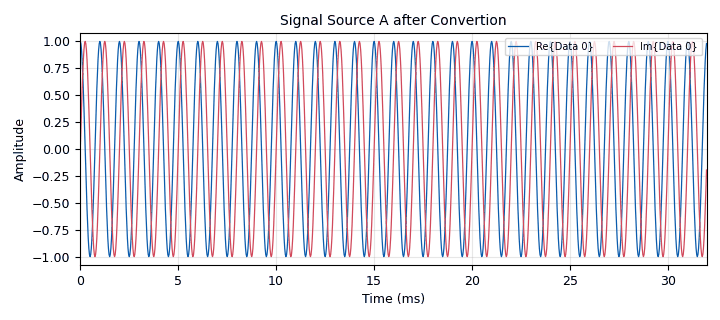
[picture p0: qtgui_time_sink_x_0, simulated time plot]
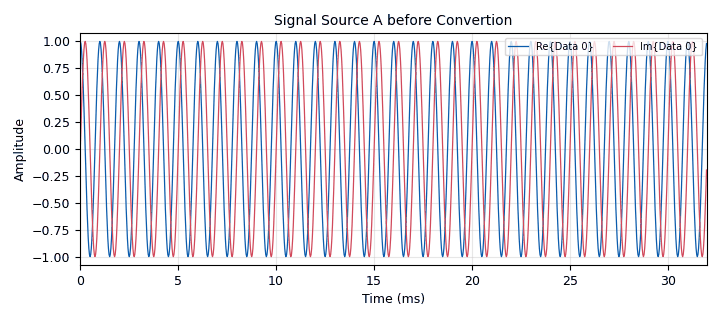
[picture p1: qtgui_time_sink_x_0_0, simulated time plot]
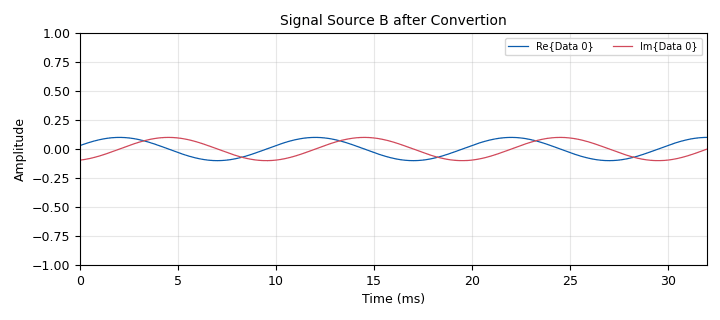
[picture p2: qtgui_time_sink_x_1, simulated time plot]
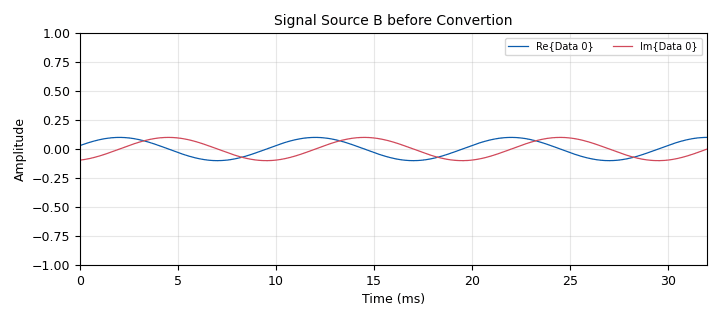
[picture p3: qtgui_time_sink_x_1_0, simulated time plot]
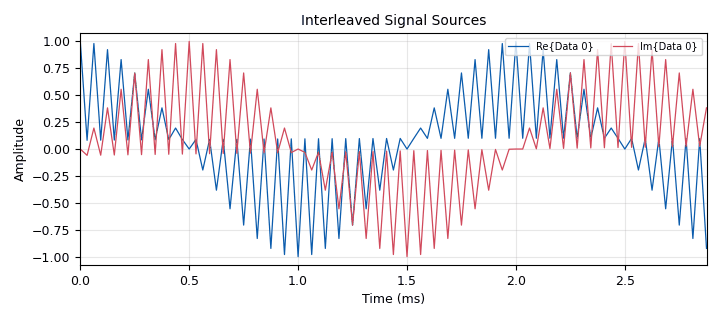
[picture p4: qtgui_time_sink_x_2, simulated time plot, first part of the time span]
options:
  parameters:
    generate_options: qt_gui
    id: streams_vectors
    output_language: python
    title: stream and vectors
  states: {}

blocks:
- name: samp_rate
  id: variable
  parameters:
    value: '32000'
  states: {}
- name: analog_sig_source_x_0
  id: analog_sig_source_x
  parameters:
    amp: '1'
    freq: '1000'
    offset: '0'
    phase: '0'
    samp_rate: samp_rate
    type: complex
    waveform: analog.GR_COS_WAVE
  states: {}
- name: analog_sig_source_x_1
  id: analog_sig_source_x
  parameters:
    amp: '0.1'
    freq: '100'
    offset: '0'
    phase: '0'
    samp_rate: samp_rate
    type: complex
    waveform: analog.GR_COS_WAVE
  states: {}
- name: blocks_streams_to_vector_0
  id: blocks_streams_to_vector
  parameters:
    type: complex
  states: {}
- name: blocks_vector_to_stream_0
  id: blocks_vector_to_stream
  parameters:
    type: complex
  states: {}
- name: blocks_vector_to_streams_0
  id: blocks_vector_to_streams
  parameters:
    type: complex
  states: {}
- name: qtgui_time_sink_x_0
  id: qtgui_time_sink_x
  parameters:
    name: '"Signal Source A after Convertion"'
    size: '1024'
    srate: samp_rate
    type: complex
  states: {}
- name: qtgui_time_sink_x_0_0
  id: qtgui_time_sink_x
  parameters:
    name: '"Signal Source A before Convertion"'
    size: '1024'
    srate: samp_rate
    type: complex
  states: {}
- name: qtgui_time_sink_x_1
  id: qtgui_time_sink_x
  parameters:
    name: '"Signal Source B after Convertion"'
    size: '1024'
    srate: samp_rate
    type: complex
  states: {}
- name: qtgui_time_sink_x_1_0
  id: qtgui_time_sink_x
  parameters:
    name: '"Signal Source B before Convertion"'
    size: '1024'
    srate: samp_rate
    type: complex
  states: {}
- name: qtgui_time_sink_x_2
  id: qtgui_time_sink_x
  parameters:
    name: '"Interleaved Signal Sources"'
    size: '1024'
    srate: samp_rate
    type: complex
  states: {}

connections:
- [analog_sig_source_x_0, '0', blocks_streams_to_vector_0, '0']
- [analog_sig_source_x_0, '0', qtgui_time_sink_x_0_0, '0']
- [analog_sig_source_x_1, '0', blocks_streams_to_vector_0, '1']
- [analog_sig_source_x_1, '0', qtgui_time_sink_x_1_0, '0']
- [blocks_streams_to_vector_0, '0', blocks_vector_to_stream_0, '0']
- [blocks_streams_to_vector_0, '0', blocks_vector_to_streams_0, '0']
- [blocks_vector_to_stream_0, '0', qtgui_time_sink_x_2, '0']
- [blocks_vector_to_streams_0, '0', qtgui_time_sink_x_0, '0']
- [blocks_vector_to_streams_0, '1', qtgui_time_sink_x_1, '0']

metadata:
  file_format: 1
